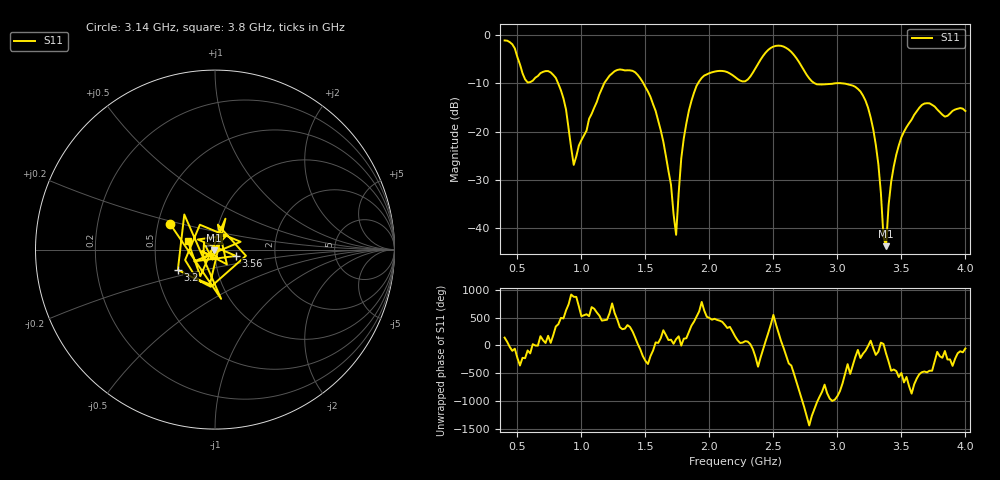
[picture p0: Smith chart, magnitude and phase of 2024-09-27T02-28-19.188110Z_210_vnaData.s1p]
!Created with skrf (http://scikit-rf.org).
# Hz S RI R 50.0
!freq ReS11 ImS11
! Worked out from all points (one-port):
!   181 points, 400 MHz to 4 GHz, reference 50 ohm
!   lowest |S11| = -43.7 dB at 3.38 GHz (marker M1), VSWR 1.01, Z = 49.5 - j0.365 ohm
!   |S11| at or under -10 dB: 817.8 MHz to 1.179 GHz (360.7 MHz wide, 36.1 % of centre); 1.484 GHz to 1.912 GHz (427.6 MHz wide, 25.2 % of centre); 3.03 GHz to end of sweep (the widest 3 of 4)
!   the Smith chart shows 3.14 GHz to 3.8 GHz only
!   S11 on the Smith chart (normalised r, x): 3.14 GHz: 0.58, +0.18; 3.2 GHz: 0.64, -0.15; 3.56 GHz: 1.26, -0.09; 3.8 GHz: 0.73, +0.07
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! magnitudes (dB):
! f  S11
! 400 MHz  -1.2
! 580 MHz  -9.8
! 740 MHz  -7.5
! 860 MHz  -13.2
! 940 MHz  -26.9
! 1.18 GHz  -9.9
! 1.3 GHz  -7.1
! 1.44 GHz  -8.3
! 1.58 GHz  -15.7
! 1.7 GHz  -31.0
! 1.74 GHz  -41.3
! 1.76 GHz  -32.7
! 1.8 GHz  -21.4
! 1.9 GHz  -10.5
! 2.2 GHz  -8.7
! 2.5 GHz  -2.4
! 2.66 GHz  -4.1
! 2.82 GHz  -10.0
! 3.1 GHz  -10.4
! 3.14 GHz  -10.7
! 3.2 GHz  -12.6
! 3.3 GHz  -22.7
! 3.36 GHz  -41.7
! 3.38 GHz  -43.7
! 3.44 GHz  -27.3
! 3.56 GHz  -18.3
! 3.8 GHz  -16.0
! 4 GHz  -15.7
